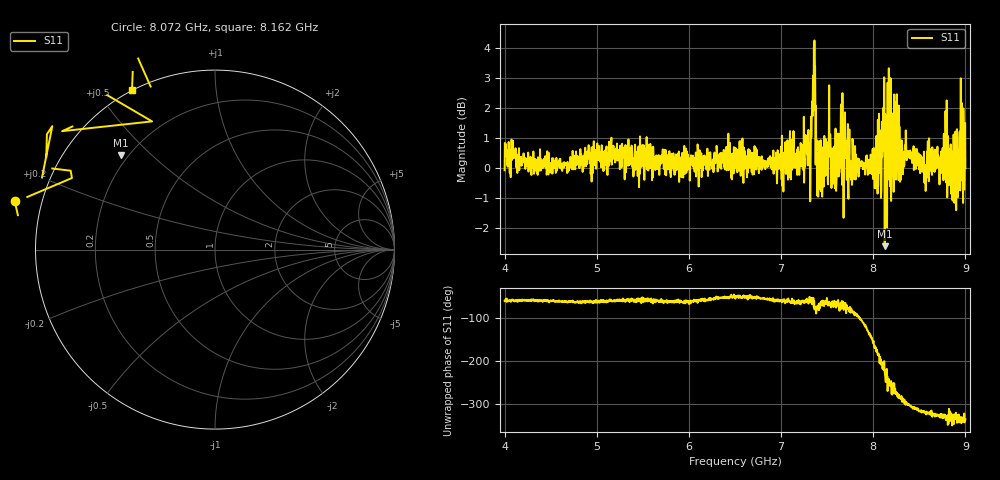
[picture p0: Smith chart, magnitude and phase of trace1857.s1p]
! Created with skrf 1.8.0 (http://scikit-rf.org).
# Hz S RI R 50.0
!freq ReS11 ImS11
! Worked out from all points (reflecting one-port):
!   1601 points, 4 GHz to 9 GHz, reference 50 ohm
!   lowest |S11| = -2.6 dB at 8.125 GHz (marker M1), VSWR 6.71, Z = 8.7 + j20.2 ohm
!   phase of S11 starts at -59 deg and turns -277 deg over the sweep
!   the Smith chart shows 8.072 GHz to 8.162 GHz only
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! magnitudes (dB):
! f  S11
! 4 GHz  -0.1
! 4.625 GHz  -0.1
! 5.25 GHz  0.0
! 5.875 GHz  0.0
! 6.5 GHz  0.4
! 7.125 GHz  0.6
! 7.297 GHz  1.3
! 7.328 GHz  1.0
! 7.347 GHz  3.1
! 7.362 GHz  4.2
! 7.397 GHz  -0.2
! 7.412 GHz  0.9
! 7.509 GHz  -0.5
! 7.619 GHz  1.1
! 7.669 GHz  1.3
! 7.75 GHz  -0.3
! 8 GHz  0.1
! 8.097 GHz  0.4
! 8.125 GHz  -2.6
! 8.216 GHz  1.8
! 8.262 GHz  0.1
! 8.312 GHz  0.9
! 8.375 GHz  0.4
! 8.556 GHz  -0.5
! 8.775 GHz  0.2
! 8.841 GHz  0.8
! 8.959 GHz  2.2
! 9 GHz  0.0
